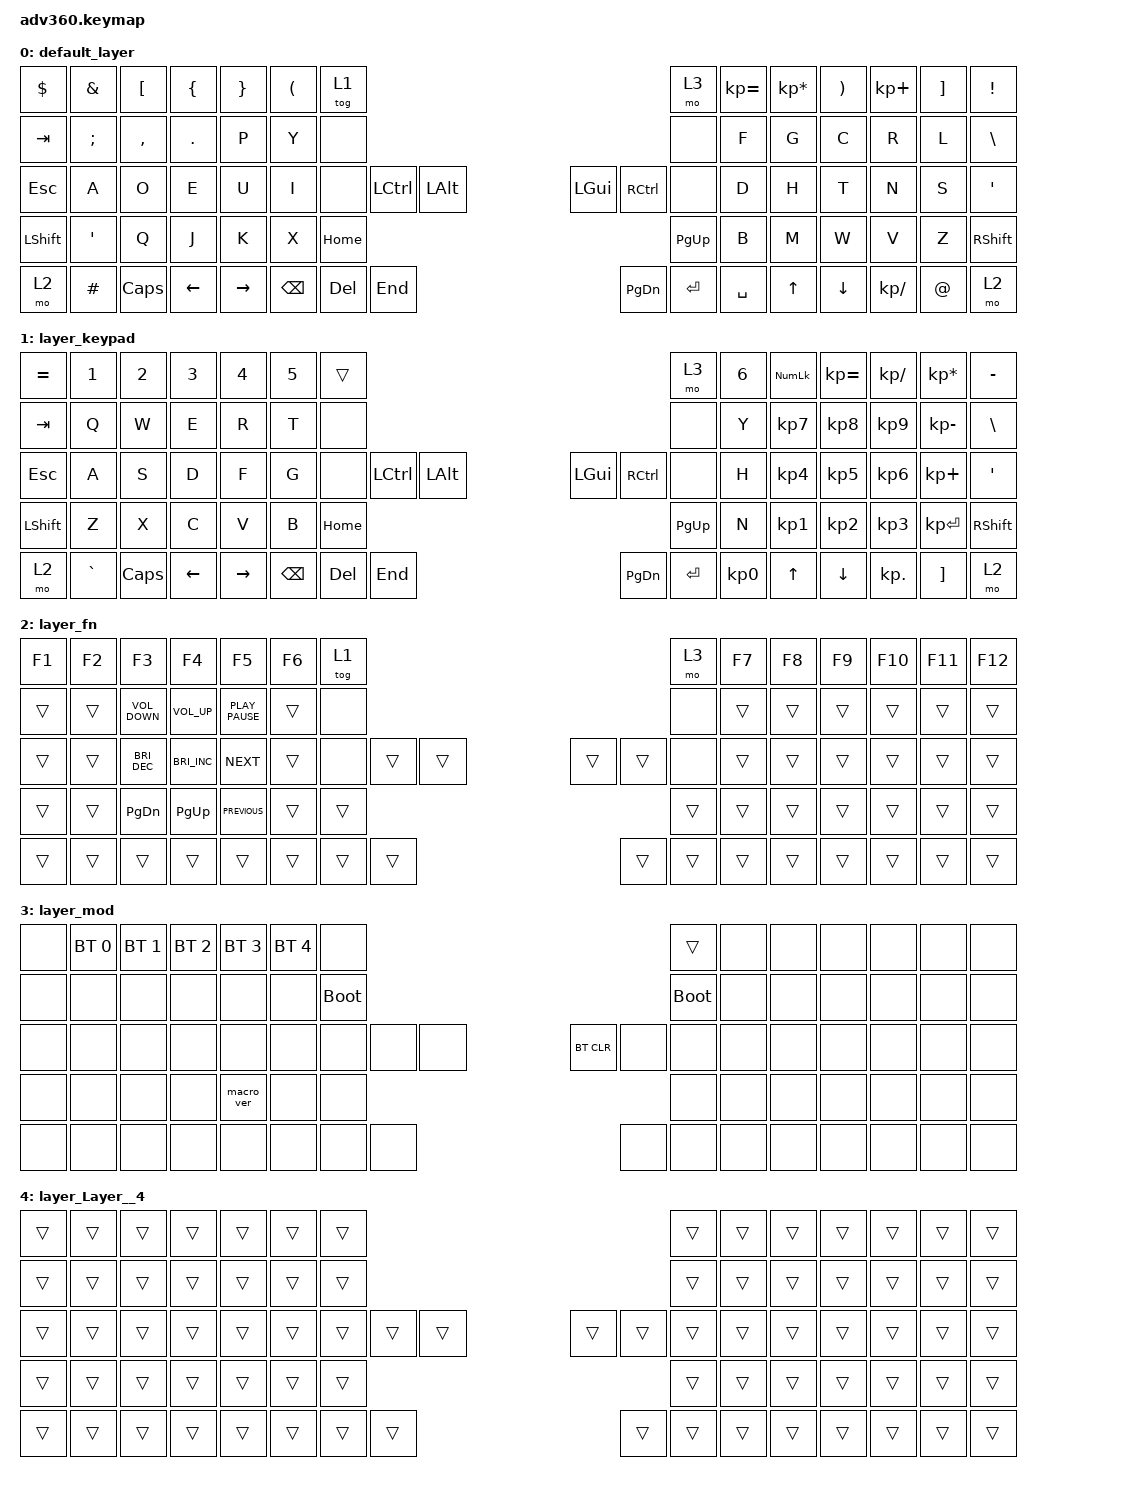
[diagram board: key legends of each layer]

/*
 * Copyright (c) 2020 The ZMK Contributors
 *
 * SPDX-License-Identifier: MIT
 */


/* THIS FILE WAS GENERATED!
 *
 * This file was generated automatically. You may or may not want to
 * edit it directly.
 */

#include <behaviors.dtsi>
#include <dt-bindings/zmk/keys.h>
#include <dt-bindings/zmk/bt.h>

/ {
  behaviors {
    #include "macros.dtsi"
    #include "version.dtsi"

    hm: homerow_mods {
        compatible = "zmk,behavior-hold-tap";
        label = "HOMEROW_MODS";
        #binding-cells = <2>;
        tapping-term-ms = <200>;
        quick_tap_ms = <175>;
        flavor = "tap-preferred";
        bindings = <&kp>, <&kp>;
    };
  };

    keymap {
        compatible = "zmk,keymap";


        default_layer {
            bindings = <
 &kp DOLLAR  &kp AMPERSAND  &kp LEFT_BRACKET  &kp LEFT_BRACE  &kp RIGHT_BRACE  &kp LEFT_PARENTHESIS              &tog 1                                                                 &mo 3  &kp KP_EQUAL  &kp KP_ASTERISK  &kp RIGHT_PARENTHESIS   &kp KP_PLUS  &kp RIGHT_BRACKET  &kp EXCLAMATION
    &kp TAB       &kp SEMI         &kp COMMA         &kp DOT            &kp P                 &kp Y               &none                                                                 &none         &kp F            &kp G                  &kp C         &kp R              &kp L         &kp BSLH
    &kp ESC          &kp A             &kp O           &kp E            &kp U                 &kp I               &none  &kp LCTRL  &kp LALT                   &kp LGUI  &kp RCTRL      &none         &kp D            &kp H                  &kp T         &kp N              &kp S          &kp SQT
  &kp LSHFT       &kp APOS             &kp Q           &kp J            &kp K                 &kp X                                 &kp HOME                  &kp PG_UP                               &kp B            &kp M                  &kp W         &kp V              &kp Z        &kp RSHFT
      &mo 2      &kp POUND          &kp CAPS        &kp LEFT        &kp RIGHT                                  &kp BSPC    &kp DEL   &kp END                  &kp PG_DN  &kp ENTER  &kp SPACE                         &kp UP               &kp DOWN  &kp KP_SLASH        &kp AT_SIGN            &mo 2
            >;
        };

        layer_keypad {
            bindings = <
 &kp EQUAL     &kp N1    &kp N2    &kp N3     &kp N4  &kp N5              &trans                                                                 &mo 3  &kp N6  &kp KP_NUM  &kp KP_EQUAL  &kp KP_DIVIDE  &kp KP_MULTIPLY  &kp MINUS
   &kp TAB      &kp Q     &kp W     &kp E      &kp R   &kp T               &none                                                                 &none   &kp Y   &kp KP_N7     &kp KP_N8      &kp KP_N9     &kp KP_MINUS   &kp BSLH
   &kp ESC      &kp A     &kp S     &kp D      &kp F   &kp G               &none  &kp LCTRL  &kp LALT                   &kp LGUI  &kp RCTRL      &none   &kp H   &kp KP_N4     &kp KP_N5      &kp KP_N6      &kp KP_PLUS    &kp SQT
 &kp LSHFT      &kp Z     &kp X     &kp C      &kp V   &kp B                                 &kp HOME                  &kp PG_UP                         &kp N   &kp KP_N1     &kp KP_N2      &kp KP_N3     &kp KP_ENTER  &kp RSHFT
     &mo 2  &kp GRAVE  &kp CAPS  &kp LEFT  &kp RIGHT                    &kp BSPC    &kp DEL   &kp END                  &kp PG_DN  &kp ENTER  &kp KP_N0              &kp UP      &kp DOWN     &kp KP_DOT         &kp RBKT      &mo 2
            >;
        };

        layer_fn {
            bindings = <
 &kp F1  &kp F2                &kp F3                &kp F4            &kp F5  &kp F6            &tog 1                                                   &mo 3  &kp F7  &kp F8  &kp F9  &kp F10  &kp F11  &kp F12
 &trans  &trans     &kp K_VOLUME_DOWN       &kp K_VOLUME_UP  &kp K_PLAY_PAUSE  &trans             &none                                                   &none  &trans  &trans  &trans   &trans   &trans   &trans
 &trans  &trans  &kp C_BRIGHTNESS_DEC  &kp C_BRIGHTNESS_INC        &kp K_NEXT  &trans             &none  &trans  &trans                  &trans  &trans   &none  &trans  &trans  &trans   &trans   &trans   &trans
 &trans  &trans         &kp PAGE_DOWN           &kp PAGE_UP    &kp K_PREVIOUS  &trans                            &trans                  &trans                  &trans  &trans  &trans   &trans   &trans   &trans
 &trans  &trans                &trans                &trans            &trans                    &trans  &trans  &trans                  &trans  &trans  &trans          &trans  &trans   &trans   &trans   &trans
            >;
        };

        layer_mod {
            bindings = <
  &none  &bt BT_SEL 0  &bt BT_SEL 1  &bt BT_SEL 2  &bt BT_SEL 3  &bt BT_SEL 4                  &none                                                           &trans   &none   &none   &none   &none   &none   &none
  &none         &none         &none         &none         &none         &none            &bootloader                                                      &bootloader   &none   &none   &none   &none   &none   &none
  &none         &none         &none         &none         &none         &none                  &none   &none   &none                  &bt BT_CLR   &none        &none   &none   &none   &none   &none   &none   &none
  &none         &none         &none         &none    &macro_ver         &none                                  &none                       &none                        &none   &none   &none   &none   &none   &none
  &none         &none         &none         &none         &none                                &none   &none   &none                       &none   &none        &none           &none   &none   &none   &none   &none
            >;
        };

        layer_Layer__4 {
            bindings = <
 &trans  &trans  &trans  &trans  &trans  &trans            &trans                                                  &trans  &trans  &trans  &trans  &trans  &trans  &trans
 &trans  &trans  &trans  &trans  &trans  &trans            &trans                                                  &trans  &trans  &trans  &trans  &trans  &trans  &trans
 &trans  &trans  &trans  &trans  &trans  &trans            &trans  &trans  &trans                  &trans  &trans  &trans  &trans  &trans  &trans  &trans  &trans  &trans
 &trans  &trans  &trans  &trans  &trans  &trans                            &trans                  &trans                  &trans  &trans  &trans  &trans  &trans  &trans
 &trans  &trans  &trans  &trans  &trans                    &trans  &trans  &trans                  &trans  &trans  &trans          &trans  &trans  &trans  &trans  &trans
            >;
        };

    };
};
